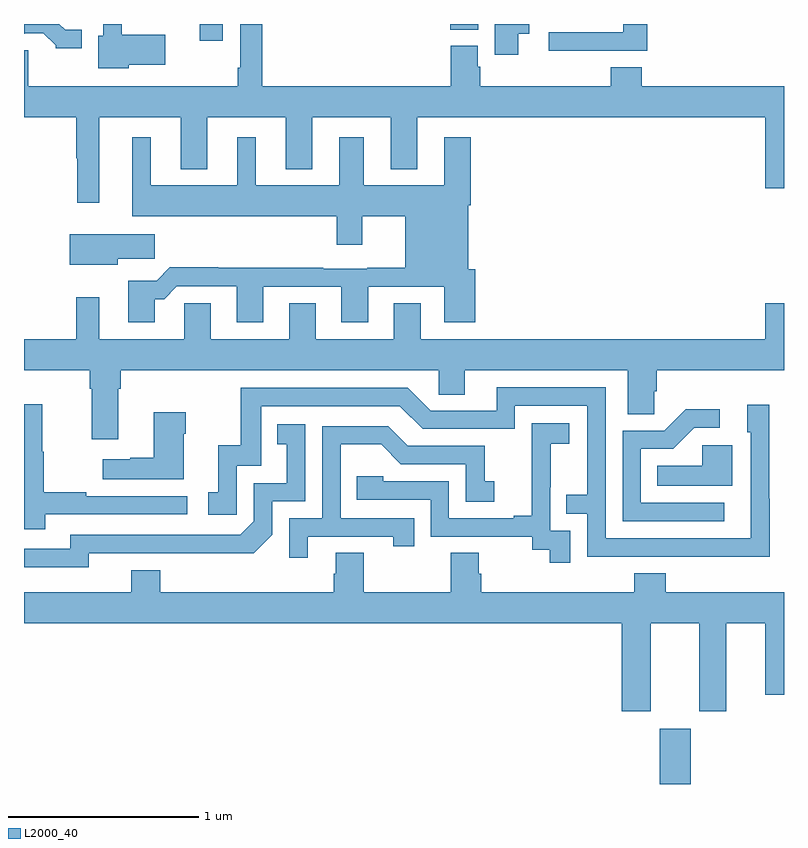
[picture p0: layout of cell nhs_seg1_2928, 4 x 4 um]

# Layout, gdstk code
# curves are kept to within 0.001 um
import gdstk
lib = gdstk.Library(unit=1e-6, precision=1e-09)
def R(c, l, rs):  # rectangles x0, y0, x1, y1
    for r in rs: c.add(gdstk.rectangle(r[:2], r[2:], *l))
def P(c, l, *ps):  # polygons
    for p in ps: c.add(gdstk.Polygon(p, *l))
L2000_40 = (2000, 40)

nhs_seg1_2928 = lib.new_cell('nhs_seg1_2928')
R(nhs_seg1_2928, L2000_40, [(272.345,572.199,272.509,572.491), (269.924,576.111,270.046,576.199), (271.244,576.169,271.39,576.199)])
P(nhs_seg1_2928, L2000_40, [(272.279,576.199),(272.153,576.199),(272.153,576.156),(271.761,576.156),(271.761,576.059),(272.279,576.059)],
  [(269.305,576.168),(269.217,576.168),(269.186,576.199),(269,576.199),(269,576.147),(269.003,576.147),(269.003,576.15),(269.102,576.15),(269.166,576.086),(269.166,576.071),(269.305,576.071)],
  [(271.6,576.149),(271.66,576.149),(271.66,576.199),(271.478,576.199),(271.478,576.036),(271.6,576.036)],
  [(269.55,575.984),(269.743,575.984),(269.743,576.142),(269.514,576.142),(269.514,576.199),(269.418,576.199),(269.418,576.138),(269.39,576.138),(269.39,575.966),(269.55,575.966)],
  [(269.395,575.708),(269.825,575.708),(269.825,575.435),(269.965,575.435),(269.965,575.708),(270.377,575.708),(270.377,575.435),(270.517,575.435),(270.517,575.708),(270.929,575.708),(270.929,575.435),(271.069,575.435),(271.069,575.708),(272.9,575.708),(272.9,575.334),(273,575.334),(273,575.872),(272.252,575.872),(272.252,575.971),(272.087,575.971),(272.087,575.872),(271.4,575.872),(271.4,575.973),(271.387,575.973),(271.387,576.084),(271.247,576.084),(271.247,575.872),(270.254,575.872),(270.254,576.199),(270.138,576.199),(270.138,575.968),(270.126,575.968),(270.126,575.872),(269.023,575.872),(269.023,576.062),(269,576.062),(269,575.708),(269.274,575.708),(269.274,575.492),(269.281,575.492),(269.281,575.259),(269.395,575.259)],
  [(269.689,574.751),(269.738,574.751),(269.805,574.818),(270.119,574.818),(270.119,574.629),(270.259,574.629),(270.259,574.815),(270.671,574.815),(270.671,574.629),(270.811,574.629),(270.811,574.815),(271.211,574.815),(271.211,574.629),(271.376,574.629),(271.376,574.908),(271.339,574.908),(271.339,575.246),(271.352,575.246),(271.352,575.602),(271.211,575.602),(271.211,575.35),(270.787,575.35),(270.787,575.602),(270.659,575.602),(270.659,575.35),(270.22,575.35),(270.22,575.602),(270.122,575.602),(270.122,575.35),(269.668,575.35),(269.668,575.602),(269.57,575.602),(269.57,575.186),(270.647,575.186),(270.647,575.037),(270.781,575.037),(270.781,575.186),(271.007,575.186),(271.007,574.916),(270.807,574.916),(270.807,574.911),(270.575,574.911),(270.575,574.916),(270.023,574.916),(270.023,574.919),(269.768,574.919),(269.698,574.849),(269.549,574.849),(269.549,574.629),(269.689,574.629)],
  [(269.494,574.963),(269.689,574.963),(269.689,575.092),(269.24,575.092),(269.24,574.931),(269.494,574.931)],
  [(269.497,574.28),(269.51,574.28),(269.51,574.376),(271.182,574.376),(271.182,574.249),(271.321,574.249),(271.321,574.376),(272.177,574.376),(272.177,574.144),(272.316,574.144),(272.316,574.267),(272.33,574.267),(272.33,574.376),(273,574.376),(273,574.729),(272.9,574.729),(272.9,574.54),(271.087,574.54),(271.087,574.73),(270.947,574.73),(270.947,574.54),(270.535,574.54),(270.535,574.73),(270.395,574.73),(270.395,574.54),(269.983,574.54),(269.983,574.73),(269.844,574.73),(269.844,574.54),(269.395,574.54),(269.395,574.762),(269.274,574.762),(269.274,574.54),(269,574.54),(269,574.376),(269.345,574.376),(269.345,574.28),(269.357,574.28),(269.357,574.014),(269.497,574.014)],
  [(272.925,573.701),(272.922,573.701),(272.922,574.195),(272.807,574.195),(272.807,574.05),(272.826,574.05),(272.825,573.492),(272.061,573.492),(272.061,574.287),(271.487,574.287),(271.487,574.164),(271.14,574.164),(271.02,574.284),(270.141,574.284),(270.141,573.982),(270.023,573.982),(270.023,573.735),(269.97,573.735),(269.97,573.615),(270.12,573.615),(270.12,573.873),(270.249,573.873),(270.249,574.188),(270.978,574.188),(271.098,574.068),(271.584,574.068),(271.584,574.191),(271.965,574.191),(271.965,573.722),(271.855,573.722),(271.855,573.621),(271.965,573.621),(271.965,573.396),(272.925,573.395)],
  [(269.111,573.618),(269.86,573.618),(269.86,573.714),(269.327,573.714),(269.327,573.734),(269.104,573.734),(269.104,573.948),(269.096,573.948),(269.096,574.198),(269,574.198),(269,573.54),(269.111,573.54)],
  [(272.686,573.678),(272.247,573.678),(272.247,573.963),(272.416,573.963),(272.527,574.074),(272.662,574.074),(272.662,574.172),(272.483,574.172),(272.37,574.059),(272.151,574.059),(272.151,573.582),(272.686,573.582)],
  [(269.842,574.043),(269.85,574.043),(269.85,574.156),(269.684,574.156),(269.684,573.917),(269.558,573.917),(269.558,573.907),(269.415,573.907),(269.415,573.803),(269.842,573.803)],
  [(271.875,573.531),(271.77,573.531),(271.77,573.761),(271.772,573.761),(271.772,573.989),(271.87,573.989),(271.87,574.099),(271.672,574.099),(271.672,573.893),(271.673,573.893),(271.673,573.61),(271.577,573.61),(271.577,573.597),(271.236,573.597),(271.236,573.792),(270.891,573.792),(270.891,573.819),(270.751,573.819),(270.751,573.696),(271.14,573.696),(271.14,573.501),(271.674,573.501),(271.674,573.433),(271.767,573.433),(271.767,573.363),(271.875,573.363)],
  [(269.34,573.414),(270.208,573.413),(270.306,573.51),(270.306,573.687),(270.48,573.687),(270.48,574.093),(270.334,574.093),(270.334,573.987),(270.383,573.987),(270.383,573.783),(270.21,573.783),(270.21,573.582),(270.138,573.51),(269.244,573.51),(269.244,573.438),(269,573.438),(269,573.341),(269.34,573.341)],
  [(270.493,573.501),(270.944,573.501),(270.944,573.45),(271.055,573.45),(271.055,573.597),(270.666,573.597),(270.666,573.986),(270.88,573.986),(270.984,573.882),(271.326,573.882),(271.326,573.684),(271.474,573.684),(271.474,573.793),(271.425,573.793),(271.425,573.978),(271.021,573.978),(270.916,574.083),(270.57,574.083),(270.57,573.597),(270.396,573.597),(270.396,573.39),(270.493,573.39)],
  [(272.728,573.982),(272.571,573.982),(272.571,573.874),(272.332,573.874),(272.332,573.77),(272.728,573.77)],
  [(272.299,573.044),(272.555,573.044),(272.555,572.583),(272.695,572.583),(272.695,573.044),(272.9,573.044),(272.9,572.67),(273,572.67),(273,573.208),(272.378,573.208),(272.378,573.307),(272.213,573.307),(272.213,573.208),(271.406,573.208),(271.406,573.306),(271.393,573.306),(271.393,573.416),(271.246,573.416),(271.246,573.208),(270.789,573.208),(270.789,573.416),(270.641,573.416),(270.641,573.306),(270.629,573.306),(270.629,573.208),(269.717,573.208),(269.717,573.325),(269.564,573.325),(269.564,573.208),(269,573.208),(269,573.044),(272.147,573.044),(272.147,572.583),(272.299,572.583)])

lib.write_gds('nhs_seg1_2928.gds')
